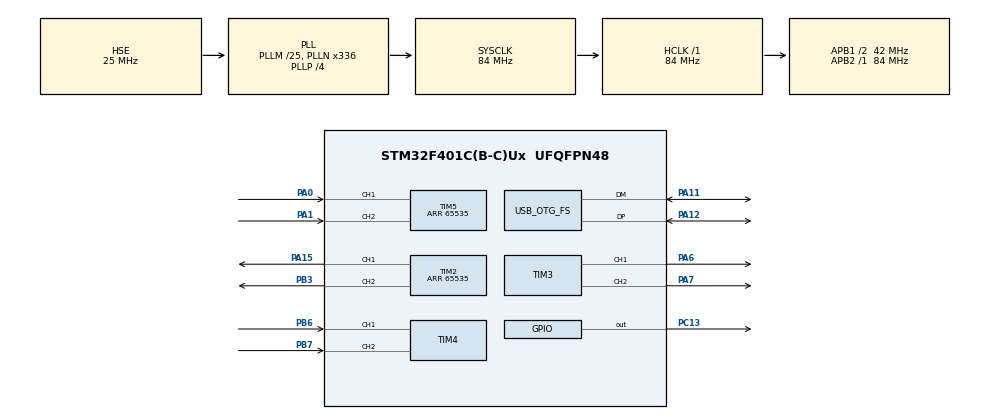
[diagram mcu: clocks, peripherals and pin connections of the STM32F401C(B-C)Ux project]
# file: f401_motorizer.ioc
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Mcu.Family=STM32F4
Mcu.Name=STM32F401C(B-C)Ux
Mcu.Package=UFQFPN48
NVIC.OTG_FS_IRQn=true\:0\:0\:false\:false\:true\:true\:true\:true
NVIC.PriorityGroup=NVIC_PRIORITYGROUP_4
NVIC.TIM1_UP_TIM10_IRQn=true\:0\:0\:false\:false\:true\:true\:true\:true
PA0-WKUP.Signal=S_TIM5_CH1
PA1.Signal=S_TIM5_CH2
PA11.Mode=Device_Only
PA11.Signal=USB_OTG_FS_DM
PA12.Mode=Device_Only
PA12.Signal=USB_OTG_FS_DP
PA13.Mode=Serial_Wire
PA13.Signal=SYS_JTMS-SWDIO
PA14.Mode=Serial_Wire
PA14.Signal=SYS_JTCK-SWCLK
PA15.Signal=S_TIM2_CH1_ETR
PA6.Signal=S_TIM3_CH1
PA7.Signal=S_TIM3_CH2
PB3.Signal=S_TIM2_CH2
PB6.Signal=S_TIM4_CH1
PB7.Signal=S_TIM4_CH2
PC13-ANTI_TAMP.Signal=GPIO_Output
PC14-OSC32_IN.Mode=LSE-External-Oscillator
PC14-OSC32_IN.Signal=RCC_OSC32_IN
PC15-OSC32_OUT.Mode=LSE-External-Oscillator
PC15-OSC32_OUT.Signal=RCC_OSC32_OUT
PH0\ -\ OSC_IN.Mode=HSE-External-Oscillator
PH0\ -\ OSC_IN.Signal=RCC_OSC_IN
PH1\ -\ OSC_OUT.Mode=HSE-External-Oscillator
PH1\ -\ OSC_OUT.Signal=RCC_OSC_OUT
ProjectManager.HeapSize=0x200
ProjectManager.StackSize=0x400
ProjectManager.TargetToolchain=Makefile
RCC.48MHZClocksFreq_Value=48000000
RCC.AHBFreq_Value=84000000
RCC.APB1CLKDivider=RCC_HCLK_DIV2
RCC.APB1Freq_Value=42000000
RCC.APB1TimFreq_Value=84000000
RCC.APB2Freq_Value=84000000
RCC.APB2TimFreq_Value=84000000
RCC.CortexFreq_Value=84000000
RCC.HCLKFreq_Value=84000000
RCC.HSE_VALUE=25000000
RCC.HSI_VALUE=16000000
RCC.PLLM=25
RCC.PLLN=336
RCC.PLLP=RCC_PLLP_DIV4
RCC.PLLQ=7
RCC.SYSCLKFreq_VALUE=84000000
RCC.SYSCLKSource=RCC_SYSCLKSOURCE_PLLCLK
RCC.VCOOutputFreq_Value=336000000
SH.S_TIM2_CH1_ETR.0=TIM2_CH1,PWM Generation1 CH1
SH.S_TIM2_CH2.0=TIM2_CH2,PWM Generation2 CH2
SH.S_TIM3_CH1.0=TIM3_CH1,PWM Generation1 CH1
SH.S_TIM3_CH2.0=TIM3_CH2,PWM Generation2 CH2
SH.S_TIM4_CH1.0=TIM4_CH1,Encoder_Interface
SH.S_TIM4_CH2.0=TIM4_CH2,Encoder_Interface
SH.S_TIM5_CH1.0=TIM5_CH1,Encoder_Interface
SH.S_TIM5_CH2.0=TIM5_CH2,Encoder_Interface
TIM2.Channel-PWM\ Generation1\ CH1=TIM_CHANNEL_1
TIM2.Channel-PWM\ Generation2\ CH2=TIM_CHANNEL_2
TIM2.Period=65535
TIM3.Channel-PWM\ Generation1\ CH1=TIM_CHANNEL_1
TIM3.Channel-PWM\ Generation2\ CH2=TIM_CHANNEL_2
TIM4.EncoderMode=TIM_ENCODERMODE_TI12
TIM4.IC1Filter=10
TIM4.IC2Filter=10
TIM5.EncoderMode=TIM_ENCODERMODE_TI12
TIM5.IC1Filter=0
TIM5.IC2Filter=0
TIM5.Period=65535
USB_DEVICE.CLASS_NAME_FS=CDC
USB_DEVICE.PRODUCT_STRING_CDC_FS=Wheeler
USB_DEVICE.VirtualMode=Cdc
USB_DEVICE.VirtualModeFS=Cdc_FS
USB_OTG_FS.VirtualMode=Device_Only
VP_TIM1_VS_ClockSourceINT.Mode=Internal
VP_USB_DEVICE_VS_USB_DEVICE_CDC_FS.Mode=CDC_FS
board=custom

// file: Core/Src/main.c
/* USER CODE BEGIN Header */
/**
 ******************************************************************************
 * @file           : main.c
 * @brief          : Main program body
 ******************************************************************************
 * @attention
 *
 * Copyright (c) 2023 STMicroelectronics.
 * All rights reserved.
 *
 * This software is licensed under terms that can be found in the LICENSE file
 * in the root directory of this software component.
 * If no LICENSE file comes with this software, it is provided AS-IS.
 *
 ******************************************************************************
 */
/* USER CODE END Header */
#include "main.h"
#include "usb_device.h"

/* USER CODE BEGIN Includes */
#include "usbd_cdc_if.h"

#include "consts.h"
#include "irq.h"
#include "motor_action.h"
#include "pid.h"
#include "remote.h"
#include "rpm_measurer.h"
#include "time_src.h"
#include <math.h>
#include <stdio.h>
#include <string.h>

/* USER CODE END Includes */

TIM_HandleTypeDef htim1;
TIM_HandleTypeDef htim2;
TIM_HandleTypeDef htim3;
TIM_HandleTypeDef htim4;
TIM_HandleTypeDef htim5;

/* USER CODE BEGIN PV */

#define MIN_VAL_FOR_BRAKE 5.0f

#define WHEEL1_POS (TIM5->CNT)
#define WHEEL2_POS (TIM4->CNT)

static struct UART_Descr uart;

static char msg[150] = {'\0'};

struct motor_action_t motor;
static struct speed_measure_t rpm1;
static struct speed_measure_t rpm2;
static struct cntr_pid_t pid1;
static struct cntr_pid_t pid2;
static float sp1 = 0.0;
static float sp2 = 0.0;

/* USER CODE END PV */

void SystemClock_Config(void);
static void MX_GPIO_Init(void);
static void MX_TIM1_Init(void);
static void MX_TIM2_Init(void);
static void MX_TIM3_Init(void);
static void MX_TIM4_Init(void);
static void MX_TIM5_Init(void);

/* USER CODE BEGIN 0 */

static int fraction_of(float a, int prec) {
  float fr = pow(10, prec);
  uint32_t b = (uint32_t)fabs(a) * (uint32_t)fr;
  return fabs(a * pow(10, prec) - b);
}

static int frac(float a) { return fraction_of(a, 3); }

static void update_pid(struct speed_measure_t *rpm, struct cntr_pid_t *pid,
                       float sp, enum motor_side_t side) {
  float speed = current_speed(rpm);
  enum motor_state_t action;
  pid_update(pid, sp, speed);
  action = pid->out > MIN_VAL_FOR_BRAKE ? FORWARD :
  (pid->out < -MIN_VAL_FOR_BRAKE ? BACKWARD : IDLE);
  uint16_t torque = fabs(pid->out) * (65535.0f - 100.0f) / 100.0f;
  apply_action_to_motor(&motor, side, action, torque);
}

void HAL_TIM_PeriodElapsedCallback(TIM_HandleTypeDef *htim) {
  sys_timer_irq(htim->Instance);
  if (htim->Instance == TIM1) // tick timer: it should be called every 1 ms
  {
    if (get_current_time().ms % 100 == 0) {
      position_changed_detect_overflow(&rpm1, WHEEL1_POS);
      position_changed_detect_overflow(&rpm2, WHEEL2_POS);
    }
    update_pid(&rpm1, &pid1, sp1, MLEFT);
    update_pid(&rpm2, &pid2, sp2, MRIGHT);
  }
}

void ext_receive_usb(uint8_t *buf, uint32_t len)
{
  uart_over_usb_data_received_handler(&uart, buf, len);
}

static void set_k_coeff(uint32_t data) {
  float kp = ((float)data) / 1000.0f;
  pid1.kp = kp;
  pid2.kp = kp;
}

static void set_p_coeff(uint32_t data) {
  float ki = ((float)data) / 1000.0f;
  pid1.ki = ki;
  pid2.ki = ki;
}

static inline void check_sp_reset(struct cntr_pid_t *p, float sp)
{
  if (fabs(sp) < EPS_SPEED)
    reset_pid(p);
}

static inline void verify_pid_reset_cond()
{
  check_sp_reset(&pid1, sp1);
  check_sp_reset(&pid2, sp2);
}

static void set_sp(uint32_t data) {
  int16_t dt1 = data >> 16;
  int16_t dt2 = data & 0xffff;
  sp1 = ((float)dt1);
  sp2 = ((float)dt2);
  verify_pid_reset_cond();
}

static void send_data_over_UART(uint32_t data) {
  if (data == CUSTOM_VEL_PID) {
    float speed1 = rpm1.speed;
    float speed2 = rpm2.speed;
    snprintf(msg, sizeof(msg), "%d.%d,%d.%d, %ld|%d.%d,%d.%d, %ld>\r\n",
             (int)speed1, frac(speed1), (int)sp1, frac(sp1), (long)pid1.out,
             (int)speed2, frac(speed2), (int)sp2, frac(sp2), (long)pid2.out);
    CDC_Transmit_FS((uint8_t*)msg, sizeof(msg));
  } else if (data == CUSTOM_VEL_POS) { // only speed + position
    // and it'll be only in binary format!
    size_t sz = 0;
    uint32_t tmp;
    const size_t vl_sz = sizeof(tmp);
    const size_t sp_sz = sizeof(rpm1.speed);
    // first wheel
    memcpy(msg, &rpm1.speed, sp_sz);
    sz += sp_sz;
    tmp = MAX_WHEEL_POS - WHEEL1_POS;
    memcpy(msg + sz, &tmp, vl_sz);
    sz += vl_sz;

    // second wheel
    memcpy(msg + sz, &rpm2.speed, sp_sz);
    sz += sp_sz;
    tmp = MAX_WHEEL_POS - WHEEL2_POS;
    memcpy(msg + sz, &tmp, vl_sz);
    sz += vl_sz;

    CDC_Transmit_FS((uint8_t*)msg, sz);
  } else if (data == CUSTOM_VEL) { // only speed
    size_t sz = 0;
    const size_t sp_sz = sizeof(rpm1.speed);
    // first wheel
    memcpy(msg, &rpm1.speed, sp_sz);
    sz += sp_sz;

    // second wheel
    memcpy(msg + sz, &rpm2.speed, sp_sz);
    sz += sp_sz;

    CDC_Transmit_FS((uint8_t*)msg, sz);
  } else if (data == CUSTOM_POS) { // only position
    size_t sz = 0;
    uint32_t tmp;
    const size_t vl_sz = sizeof(tmp);
    // first wheel
    tmp = MAX_WHEEL_POS - WHEEL1_POS;
    memcpy(msg + sz, &tmp, vl_sz);
    sz += vl_sz;

    // second wheel
    tmp = MAX_WHEEL_POS - WHEEL2_POS;
    memcpy(msg + sz, &tmp, vl_sz);
    sz += vl_sz;

    CDC_Transmit_FS((uint8_t*)msg, sz);
  } else if (data == WHEEL_TICKS) { // raw wheel ticks
    size_t sz = 0;
    uint16_t tmp;
    const size_t tick_sz = sizeof(tmp);
    const size_t ov_sz = sizeof(rpm1.overflown_counter);

    // first wheel
    tmp = WHEEL1_POS;
    memcpy(msg + sz, &tmp, tick_sz);
    sz += tick_sz;
    memcpy(msg + sz, &rpm1.overflown_counter, ov_sz);
    sz += ov_sz;

    // second wheel
    tmp = WHEEL2_POS;
    memcpy(msg + sz, &tmp, tick_sz);
    sz += tick_sz;
    memcpy(msg + sz, &rpm2.overflown_counter, ov_sz);
    sz += ov_sz;

    CDC_Transmit_FS((uint8_t*)msg, sz);
  } else if (data <= CUSTOM_PING) {
    snprintf(msg, sizeof(msg), "%ld\r", (long)data);
    CDC_Transmit_FS((uint8_t*)msg, sizeof(msg));
  }
}

static void init_pi(struct cntr_pid_t *p) {
  init_pid(p, 0.11, 0.7, 0, 0.001, -100, 100);
  set_integrator_limits(p, -100, 100);
  set_sample_time(p, 0.001);
}

static void init_rpm(struct speed_measure_t *p) {
  rpm_measurer_init(p);
  // we've got the inversion of channels here:
  rpm_measurer_set_speed_coef(p, -1);
}

/* USER CODE END 0 */

int main(void)
{
  /* USER CODE BEGIN 1 */
  uint32_t last_time = 0;

  /* USER CODE END 1 */

  /* MCU Configuration--------------------------------------------------------*/

  /* Reset of all peripherals, Initializes the Flash interface and the Systick. */
  HAL_Init();

  /* Configure the system clock */
  SystemClock_Config();

  /* Initialize all configured peripherals */
  MX_GPIO_Init();
  MX_TIM1_Init();
  MX_TIM2_Init();
  MX_TIM3_Init();
  MX_TIM4_Init();
  MX_TIM5_Init();
  MX_USB_DEVICE_Init();
  /* USER CODE BEGIN 2 */

  HAL_TIM_PWM_Start(&htim2, TIM_CHANNEL_1);
  HAL_TIM_PWM_Start(&htim2, TIM_CHANNEL_2);
  HAL_TIM_PWM_Start(&htim3, TIM_CHANNEL_1);
  HAL_TIM_PWM_Start(&htim3, TIM_CHANNEL_2);

  // encoders for speed measurement
  HAL_TIM_Encoder_Start(&htim4, TIM_CHANNEL_ALL);
  HAL_TIM_Encoder_Start(&htim5, TIM_CHANNEL_ALL);

  // start system time
  __HAL_TIM_CLEAR_FLAG(
      &htim1, TIM_SR_UIF); // clear the flag for first interrupt not to happen
  HAL_TIM_Base_Start_IT(&htim1);

  init_system_timer(TIM1);
  // initialize two motors
  init_motor_action(&motor, &(TIM2->CCR1), &(TIM2->CCR2), &(TIM3->CCR1),
                    &(TIM3->CCR2));

  init_pi(&pid1);
  init_pi(&pid2);

  init_rpm(&rpm1);
  init_rpm(&rpm2);

  // for UART over USB we do not have any huart pointer or use any buffer
  init_communication_uart(&uart, NULL, NULL, 0);
  install_k_callback(&uart, &set_k_coeff);
  install_p_callback(&uart, &set_p_coeff);
  install_custom_callback(&uart, &send_data_over_UART);
  uart.received_sp = &set_sp;

  last_time = 0;

  /* USER CODE END 2 */

  /* Infinite loop */
  /* USER CODE BEGIN WHILE */
  while (1) {
    uart_runloop_handler();
    // HAL_IWDG_Refresh(&hiwdg);
    struct val_time_t time = get_current_time();
    if (time.ms - last_time > 1000) {
      last_time = time.ms;
      HAL_GPIO_TogglePin(GPIOC, GPIO_PIN_13);
      verify_pid_reset_cond();
      // send_data_over_UART(11);
    }
    /* USER CODE END WHILE */

  }
}

void SystemClock_Config(void)
{
  RCC_OscInitTypeDef RCC_OscInitStruct = {0};
  RCC_ClkInitTypeDef RCC_ClkInitStruct = {0};

  /** Configure the main internal regulator output voltage
  */
  __HAL_RCC_PWR_CLK_ENABLE();
  __HAL_PWR_VOLTAGESCALING_CONFIG(PWR_REGULATOR_VOLTAGE_SCALE2);

  /** Initializes the RCC Oscillators according to the specified parameters
  * in the RCC_OscInitTypeDef structure.
  */
  RCC_OscInitStruct.OscillatorType = RCC_OSCILLATORTYPE_HSE;
  RCC_OscInitStruct.HSEState = RCC_HSE_ON;
  RCC_OscInitStruct.PLL.PLLState = RCC_PLL_ON;
  RCC_OscInitStruct.PLL.PLLSource = RCC_PLLSOURCE_HSE;
  RCC_OscInitStruct.PLL.PLLM = 25;
  RCC_OscInitStruct.PLL.PLLN = 336;
  RCC_OscInitStruct.PLL.PLLP = RCC_PLLP_DIV4;
  RCC_OscInitStruct.PLL.PLLQ = 7;
  if (HAL_RCC_OscConfig(&RCC_OscInitStruct) != HAL_OK)
  {
    Error_Handler();
  }

  /** Initializes the CPU, AHB and APB buses clocks
  */
  RCC_ClkInitStruct.ClockType = RCC_CLOCKTYPE_HCLK|RCC_CLOCKTYPE_SYSCLK
                              |RCC_CLOCKTYPE_PCLK1|RCC_CLOCKTYPE_PCLK2;
  RCC_ClkInitStruct.SYSCLKSource = RCC_SYSCLKSOURCE_PLLCLK;
  RCC_ClkInitStruct.AHBCLKDivider = RCC_SYSCLK_DIV1;
  RCC_ClkInitStruct.APB1CLKDivider = RCC_HCLK_DIV2;
  RCC_ClkInitStruct.APB2CLKDivider = RCC_HCLK_DIV1;

  if (HAL_RCC_ClockConfig(&RCC_ClkInitStruct, FLASH_LATENCY_2) != HAL_OK)
  {
    Error_Handler();
  }
}

static void MX_TIM1_Init(void)
{

  TIM_ClockConfigTypeDef sClockSourceConfig = {0};
  TIM_MasterConfigTypeDef sMasterConfig = {0};

  htim1.Instance = TIM1;
  htim1.Init.Prescaler = 0;
  htim1.Init.CounterMode = TIM_COUNTERMODE_UP;
  htim1.Init.Period = 65535;
  htim1.Init.ClockDivision = TIM_CLOCKDIVISION_DIV1;
  htim1.Init.RepetitionCounter = 0;
  htim1.Init.AutoReloadPreload = TIM_AUTORELOAD_PRELOAD_DISABLE;
  if (HAL_TIM_Base_Init(&htim1) != HAL_OK)
  {
    Error_Handler();
  }
  sClockSourceConfig.ClockSource = TIM_CLOCKSOURCE_INTERNAL;
  if (HAL_TIM_ConfigClockSource(&htim1, &sClockSourceConfig) != HAL_OK)
  {
    Error_Handler();
  }
  sMasterConfig.MasterOutputTrigger = TIM_TRGO_RESET;
  sMasterConfig.MasterSlaveMode = TIM_MASTERSLAVEMODE_DISABLE;
  if (HAL_TIMEx_MasterConfigSynchronization(&htim1, &sMasterConfig) != HAL_OK)
  {
    Error_Handler();
  }

}

static void MX_TIM2_Init(void)
{

  TIM_MasterConfigTypeDef sMasterConfig = {0};
  TIM_OC_InitTypeDef sConfigOC = {0};

  htim2.Instance = TIM2;
  htim2.Init.Prescaler = 0;
  htim2.Init.CounterMode = TIM_COUNTERMODE_UP;
  htim2.Init.Period = 65535;
  htim2.Init.ClockDivision = TIM_CLOCKDIVISION_DIV1;
  htim2.Init.AutoReloadPreload = TIM_AUTORELOAD_PRELOAD_DISABLE;
  if (HAL_TIM_PWM_Init(&htim2) != HAL_OK)
  {
    Error_Handler();
  }
  sMasterConfig.MasterOutputTrigger = TIM_TRGO_RESET;
  sMasterConfig.MasterSlaveMode = TIM_MASTERSLAVEMODE_DISABLE;
  if (HAL_TIMEx_MasterConfigSynchronization(&htim2, &sMasterConfig) != HAL_OK)
  {
    Error_Handler();
  }
  sConfigOC.OCMode = TIM_OCMODE_PWM1;
  sConfigOC.Pulse = 0;
  sConfigOC.OCPolarity = TIM_OCPOLARITY_HIGH;
  sConfigOC.OCFastMode = TIM_OCFAST_DISABLE;
  if (HAL_TIM_PWM_ConfigChannel(&htim2, &sConfigOC, TIM_CHANNEL_1) != HAL_OK)
  {
    Error_Handler();
  }
  if (HAL_TIM_PWM_ConfigChannel(&htim2, &sConfigOC, TIM_CHANNEL_2) != HAL_OK)
  {
    Error_Handler();
  }
  HAL_TIM_MspPostInit(&htim2);

}

static void MX_TIM3_Init(void)
{

  TIM_MasterConfigTypeDef sMasterConfig = {0};
  TIM_OC_InitTypeDef sConfigOC = {0};

  htim3.Instance = TIM3;
  htim3.Init.Prescaler = 0;
  htim3.Init.CounterMode = TIM_COUNTERMODE_UP;
  htim3.Init.Period = 65535;
  htim3.Init.ClockDivision = TIM_CLOCKDIVISION_DIV1;
  htim3.Init.AutoReloadPreload = TIM_AUTORELOAD_PRELOAD_DISABLE;
  if (HAL_TIM_PWM_Init(&htim3) != HAL_OK)
  {
    Error_Handler();
  }
  sMasterConfig.MasterOutputTrigger = TIM_TRGO_RESET;
  sMasterConfig.MasterSlaveMode = TIM_MASTERSLAVEMODE_DISABLE;
  if (HAL_TIMEx_MasterConfigSynchronization(&htim3, &sMasterConfig) != HAL_OK)
  {
    Error_Handler();
  }
  sConfigOC.OCMode = TIM_OCMODE_PWM1;
  sConfigOC.Pulse = 0;
  sConfigOC.OCPolarity = TIM_OCPOLARITY_HIGH;
  sConfigOC.OCFastMode = TIM_OCFAST_DISABLE;
  if (HAL_TIM_PWM_ConfigChannel(&htim3, &sConfigOC, TIM_CHANNEL_1) != HAL_OK)
  {
    Error_Handler();
  }
  if (HAL_TIM_PWM_ConfigChannel(&htim3, &sConfigOC, TIM_CHANNEL_2) != HAL_OK)
  {
    Error_Handler();
  }
  HAL_TIM_MspPostInit(&htim3);

}

static void MX_TIM4_Init(void)
{

  TIM_Encoder_InitTypeDef sConfig = {0};
  TIM_MasterConfigTypeDef sMasterConfig = {0};

  htim4.Instance = TIM4;
  htim4.Init.Prescaler = 0;
  htim4.Init.CounterMode = TIM_COUNTERMODE_UP;
  htim4.Init.Period = 65535;
  htim4.Init.ClockDivision = TIM_CLOCKDIVISION_DIV1;
  htim4.Init.AutoReloadPreload = TIM_AUTORELOAD_PRELOAD_DISABLE;
  sConfig.EncoderMode = TIM_ENCODERMODE_TI12;
  sConfig.IC1Polarity = TIM_ICPOLARITY_RISING;
  sConfig.IC1Selection = TIM_ICSELECTION_DIRECTTI;
  sConfig.IC1Prescaler = TIM_ICPSC_DIV1;
  sConfig.IC1Filter = 10;
  sConfig.IC2Polarity = TIM_ICPOLARITY_RISING;
  sConfig.IC2Selection = TIM_ICSELECTION_DIRECTTI;
  sConfig.IC2Prescaler = TIM_ICPSC_DIV1;
  sConfig.IC2Filter = 10;
  if (HAL_TIM_Encoder_Init(&htim4, &sConfig) != HAL_OK)
  {
    Error_Handler();
  }
  sMasterConfig.MasterOutputTrigger = TIM_TRGO_RESET;
  sMasterConfig.MasterSlaveMode = TIM_MASTERSLAVEMODE_DISABLE;
  if (HAL_TIMEx_MasterConfigSynchronization(&htim4, &sMasterConfig) != HAL_OK)
  {
    Error_Handler();
  }

}

static void MX_TIM5_Init(void)
{

  TIM_Encoder_InitTypeDef sConfig = {0};
  TIM_MasterConfigTypeDef sMasterConfig = {0};

  htim5.Instance = TIM5;
  htim5.Init.Prescaler = 0;
  htim5.Init.CounterMode = TIM_COUNTERMODE_UP;
  htim5.Init.Period = 65535;
  htim5.Init.ClockDivision = TIM_CLOCKDIVISION_DIV1;
  htim5.Init.AutoReloadPreload = TIM_AUTORELOAD_PRELOAD_DISABLE;
  sConfig.EncoderMode = TIM_ENCODERMODE_TI12;
  sConfig.IC1Polarity = TIM_ICPOLARITY_RISING;
  sConfig.IC1Selection = TIM_ICSELECTION_DIRECTTI;
  sConfig.IC1Prescaler = TIM_ICPSC_DIV1;
  sConfig.IC1Filter = 0;
  sConfig.IC2Polarity = TIM_ICPOLARITY_RISING;
  sConfig.IC2Selection = TIM_ICSELECTION_DIRECTTI;
  sConfig.IC2Prescaler = TIM_ICPSC_DIV1;
  sConfig.IC2Filter = 0;
  if (HAL_TIM_Encoder_Init(&htim5, &sConfig) != HAL_OK)
  {
    Error_Handler();
  }
  sMasterConfig.MasterOutputTrigger = TIM_TRGO_RESET;
  sMasterConfig.MasterSlaveMode = TIM_MASTERSLAVEMODE_DISABLE;
  if (HAL_TIMEx_MasterConfigSynchronization(&htim5, &sMasterConfig) != HAL_OK)
  {
    Error_Handler();
  }

}

static void MX_GPIO_Init(void)
{
  GPIO_InitTypeDef GPIO_InitStruct = {0};

  /* GPIO Ports Clock Enable */
  __HAL_RCC_GPIOC_CLK_ENABLE();
  __HAL_RCC_GPIOH_CLK_ENABLE();
  __HAL_RCC_GPIOA_CLK_ENABLE();
  __HAL_RCC_GPIOB_CLK_ENABLE();

  /*Configure GPIO pin Output Level */
  HAL_GPIO_WritePin(GPIOC, GPIO_PIN_13, GPIO_PIN_RESET);

  /*Configure GPIO pin : PC13 */
  GPIO_InitStruct.Pin = GPIO_PIN_13;
  GPIO_InitStruct.Mode = GPIO_MODE_OUTPUT_PP;
  GPIO_InitStruct.Pull = GPIO_NOPULL;
  GPIO_InitStruct.Speed = GPIO_SPEED_FREQ_LOW;
  HAL_GPIO_Init(GPIOC, &GPIO_InitStruct);

}

void Error_Handler(void)
{
  /* USER CODE BEGIN Error_Handler_Debug */
  /* User can add his own implementation to report the HAL error return state */
  __disable_irq();
  while (1) {
    HAL_GPIO_TogglePin(GPIOC, GPIO_PIN_13);
    HAL_Delay(100);
  }
  /* USER CODE END Error_Handler_Debug */
}

#ifdef  USE_FULL_ASSERT
/**
  * @brief  Reports the name of the source file and the source line number
  *         where the assert_param error has occurred.
  * @param  file: pointer to the source file name
  * @param  line: assert_param error line source number
  * @retval None
  */
void assert_failed(uint8_t *file, uint32_t line)
{
	/* USER CODE BEGIN 6 */
	snprintf(msg, sizeof(msg), "Wrong parameters value: file %s on line %d\r\n", file, line);
    CDC_Transmit_FS((uint8_t*)msg, sizeof(msg));
	/* USER CODE END 6 */
}
#endif /* USE_FULL_ASSERT */
